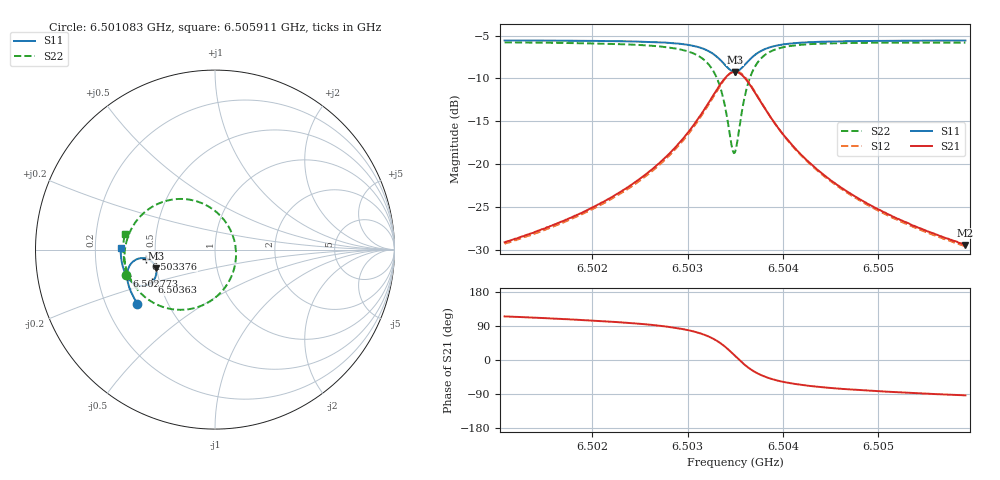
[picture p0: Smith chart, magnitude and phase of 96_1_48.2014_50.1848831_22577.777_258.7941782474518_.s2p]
#  HZ  S  RI  R  50.00
! Rohde & Schwarz Vector Network Analyzer
! Rohde-Schwarz,ZNB20-2Port,1311601062101988,3.16
! Created: UTC 3/20/2024, 11:40:17 AM
! freq[Hz]  re:S11  im:S11  re:S21  im:S21  re:S12  im:S12  re:S22  im:S22
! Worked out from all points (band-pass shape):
!   401 points, 6.501083 GHz to 6.505911 GHz, reference 50 ohm
!   highest |S21| = -9.23 dB at 6.503497 GHz (marker M1); lowest = -29.4 dB at 6.505911 GHz (marker M2)
!   |S21| within 3 dB of the highest: 6.503255 GHz to 6.503738 GHz (483.4 kHz wide, 0.00743 % of centre)
!   lowest |S11| = -9.2 dB at 6.503497 GHz (marker M3), VSWR 2.05, Z = 24.8 - j5.76 ohm
!   |S11| at or under -10 dB: nowhere
!   |S22| runs from -18.7 to -5.8 dB; largest |S21 - S12| = 0.012
!   S11 on the Smith chart (normalised r, x): 6.501083 GHz: 0.34, -0.28; 6.502773 GHz: 0.33, -0.13; 6.503376 GHz: 0.44, -0.05; 6.50363 GHz: 0.45, -0.19; 6.505911 GHz: 0.31, +0.01
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6.501083e9  -0.4323 -0.3007  -0.0148 0.0317  -0.013 0.0316  -0.4936 -0.141
6.5018916e9  -0.4661 -0.2395  -0.0138 0.05  -0.0116 0.0495  -0.5044 -0.0524
6.5023623e9  -0.4821 -0.1965  -0.0103 0.0719  -0.00725 0.0705  -0.499 0.0178
6.5027003e9  -0.4893 -0.1576  -0.000934 0.1009  0.00267 0.0983  -0.4781 0.0897
6.5027727e9  -0.4897 -0.1476  0.00303 0.1099  0.00681 0.107  -0.4692 0.1093
6.5029779e9  -0.4857 -0.1142  0.0249 0.1443  0.0286 0.1398  -0.4232 0.1775
6.5031348e9  -0.4705 -0.0818  0.0652 0.181  0.068 0.1749  -0.3444 0.2415
6.5032796e9  -0.4318 -0.0522  0.1489 0.21  0.1496 0.2035  -0.1921 0.2823
6.5033279e9  -0.41 -0.0474  0.1924 0.2082  0.1924 0.2025  -0.1157 0.2729
6.5033762e9  -0.3842 -0.0497  0.2423 0.1925  0.2424 0.1878  -0.0304 0.2369
6.5034607e9  -0.3406 -0.0798  0.3217 0.1156  0.3241 0.1114  0.0963 0.0855
6.5034969e9  -0.3298 -0.1024  0.3392 0.0658  0.343 0.0602  0.1166 -0.00836
6.503521e9  -0.3267 -0.1191  0.3426 0.0305  0.3466 0.0236  0.1138 -0.0734
6.5035572e9  -0.3292 -0.1436  0.3346 -0.0206  0.3383 -0.0298  0.085 -0.1638
6.5036297e9  -0.3519 -0.1813  0.2867 -0.098  0.2865 -0.1099  -0.0284 -0.2888
6.5037262e9  -0.3935 -0.2012  0.2068 -0.1418  0.2016 -0.1521  -0.1914 -0.3355
6.5038831e9  -0.4435 -0.1937  0.1172 -0.1405  0.1098 -0.1463  -0.3541 -0.29
6.5040521e9  -0.4728 -0.1725  0.0684 -0.1193  0.0619 -0.1218  -0.4332 -0.2215
6.5043056e9  -0.4956 -0.1412  0.0351 -0.0921  0.0301 -0.0926  -0.4814 -0.1424
6.5046556e9  -0.511 -0.1036  0.0161 -0.0682  0.0124 -0.0679  -0.504 -0.0683
6.5051142e9  -0.5207 -0.0605  0.00535 -0.0502  0.00291 -0.0495  -0.5108 -0.000333
6.5059108e9  -0.5261 0.00765  -0.00188 -0.0337  -0.00342 -0.033  -0.5036 0.0865
